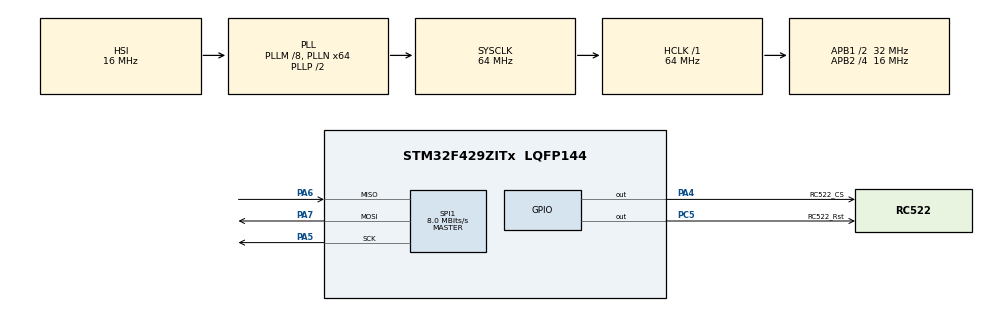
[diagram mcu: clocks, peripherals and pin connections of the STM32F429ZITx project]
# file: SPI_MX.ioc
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Mcu.Family=STM32F4
Mcu.Name=STM32F429ZITx
Mcu.Package=LQFP144
NVIC.PriorityGroup=NVIC_PRIORITYGROUP_0
PA13.Mode=Serial_Wire
PA13.Signal=SYS_JTMS-SWDIO
PA14.Mode=Serial_Wire
PA14.Signal=SYS_JTCK-SWCLK
PA4.GPIO_Label=RC522_CS
PA4.Signal=GPIO_Output
PA5.Mode=Full_Duplex_Master
PA5.Signal=SPI1_SCK
PA6.Mode=Full_Duplex_Master
PA6.Signal=SPI1_MISO
PA7.Mode=Full_Duplex_Master
PA7.Signal=SPI1_MOSI
PC5.GPIO_Label=RC522_Rst
PC5.Signal=GPIO_Output
ProjectManager.HeapSize=0x200
ProjectManager.StackSize=0x400
ProjectManager.TargetToolchain=STM32CubeIDE
RCC.48MHZClocksFreq_Value=18285714.285714287
RCC.AHBFreq_Value=64000000
RCC.APB1CLKDivider=RCC_HCLK_DIV2
RCC.APB1Freq_Value=32000000
RCC.APB1TimFreq_Value=64000000
RCC.APB2CLKDivider=RCC_HCLK_DIV4
RCC.APB2Freq_Value=16000000
RCC.APB2TimFreq_Value=32000000
RCC.CortexFreq_Value=64000000
RCC.HCLKFreq_Value=64000000
RCC.HSE_VALUE=8000000
RCC.HSI_VALUE=16000000
RCC.LSE_VALUE=32768
RCC.PLLM=8
RCC.PLLN=64
RCC.PLLQ=7
RCC.SYSCLKFreq_VALUE=64000000
RCC.SYSCLKSource=RCC_SYSCLKSOURCE_PLLCLK
RCC.VCOOutputFreq_Value=128000000
SPI1.BaudRatePrescaler=SPI_BAUDRATEPRESCALER_2
SPI1.CalculateBaudRate=8.0 MBits/s
SPI1.Direction=SPI_DIRECTION_2LINES
SPI1.Mode=SPI_MODE_MASTER
SPI1.VirtualType=VM_MASTER
board=STM32F429I-DISC1

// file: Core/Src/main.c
/* USER CODE BEGIN Header */
/**
  ******************************************************************************
  * @file           : main.c
  * @brief          : Main program body
  ******************************************************************************
  * @attention
  *
  * Copyright (c) 2025 STMicroelectronics.
  * All rights reserved.
  *
  * This software is licensed under terms that can be found in the LICENSE file
  * in the root directory of this software component.
  * If no LICENSE file comes with this software, it is provided AS-IS.
  *
  ******************************************************************************
  */
/* USER CODE END Header */
#include "main.h"

/* USER CODE BEGIN Includes */
#include "MFRC522.h"
/* USER CODE END Includes */

SPI_HandleTypeDef hspi1;

/* USER CODE BEGIN PV */
uint8_t value = 0;
char str1[17]={'\0'};
char str2[17]={'\0'};
char str3[17]={'\0'};
char str4[17]={'\0'};
char tmp_str[65]={'\0'};

uint8_t status, cardstr[MAX_LEN+1];
uint8_t card_data[17];
uint32_t delay_val = 1000; //ms
uint16_t result = 0;
uint8_t UID[5];
// a private key to scramble data writing/reading to/from RFID card:
uint8_t Mx1[7][5]={{0x12,0x45,0xF2,0xA8},{0xB2,0x6C,0x39,0x83},{0x55,0xE5,0xDA,0x18},
		  	  	  	{0x1F,0x09,0xCA,0x75},{0x99,0xA2,0x50,0xEC},{0x2C,0x88,0x7F,0x3D}};
uint8_t SectorKey[7];
/* USER CODE END PV */

void SystemClock_Config(void);
static void MX_GPIO_Init(void);
static void MX_SPI1_Init(void);

int main(void)
{

  /* MCU Configuration--------------------------------------------------------*/

  /* Reset of all peripherals, Initializes the Flash interface and the Systick. */
  HAL_Init();

  /* Configure the system clock */
  SystemClock_Config();

  /* Initialize all configured peripherals */
  MX_GPIO_Init();
  MX_SPI1_Init();
  /* USER CODE BEGIN 2 */
  HAL_GPIO_WritePin(RC522_Rst_GPIO_Port, RC522_Rst_Pin, GPIO_PIN_SET);
  MFRC522_Init();
  /* USER CODE END 2 */

  /* Infinite loop */
  while (1)
  {

    /* USER CODE BEGIN 3 */
  	  for (int i = 0; i < 16; i++)
  	  {
  		  cardstr[i] = 0;
  	  }
  	  status = 0;
  	  // Find cards
  	  status = MFRC522_Request(PICC_REQIDL, cardstr);
  	  if(status == MI_OK)
  	  {
  		  // Anti-collision, return card serial number == 4 bytes
  		  HAL_Delay(1);
  		  status = MFRC522_Anticoll(cardstr);
  		  if(status == MI_OK)
  		  {
  			  UID[0] = cardstr[0];
  			  UID[1] = cardstr[1];
  			  UID[2] = cardstr[2];
  			  UID[3] = cardstr[3];
  			  UID[4] = cardstr[4];
  		  }
		MFRC522_Halt();
		HAL_Delay(1000);
  	  }
  	  else{
  		  //Waiting For Card
  		  HAL_Delay(1);
  	  }
  }
  /* USER CODE END 3 */
}

void SystemClock_Config(void)
{
  RCC_OscInitTypeDef RCC_OscInitStruct = {0};
  RCC_ClkInitTypeDef RCC_ClkInitStruct = {0};

  /** Configure the main internal regulator output voltage
  */
  __HAL_RCC_PWR_CLK_ENABLE();
  __HAL_PWR_VOLTAGESCALING_CONFIG(PWR_REGULATOR_VOLTAGE_SCALE3);

  /** Initializes the RCC Oscillators according to the specified parameters
  * in the RCC_OscInitTypeDef structure.
  */
  RCC_OscInitStruct.OscillatorType = RCC_OSCILLATORTYPE_HSI;
  RCC_OscInitStruct.HSIState = RCC_HSI_ON;
  RCC_OscInitStruct.HSICalibrationValue = RCC_HSICALIBRATION_DEFAULT;
  RCC_OscInitStruct.PLL.PLLState = RCC_PLL_ON;
  RCC_OscInitStruct.PLL.PLLSource = RCC_PLLSOURCE_HSI;
  RCC_OscInitStruct.PLL.PLLM = 8;
  RCC_OscInitStruct.PLL.PLLN = 64;
  RCC_OscInitStruct.PLL.PLLP = RCC_PLLP_DIV2;
  RCC_OscInitStruct.PLL.PLLQ = 7;
  if (HAL_RCC_OscConfig(&RCC_OscInitStruct) != HAL_OK)
  {
    Error_Handler();
  }

  /** Initializes the CPU, AHB and APB buses clocks
  */
  RCC_ClkInitStruct.ClockType = RCC_CLOCKTYPE_HCLK|RCC_CLOCKTYPE_SYSCLK
                              |RCC_CLOCKTYPE_PCLK1|RCC_CLOCKTYPE_PCLK2;
  RCC_ClkInitStruct.SYSCLKSource = RCC_SYSCLKSOURCE_PLLCLK;
  RCC_ClkInitStruct.AHBCLKDivider = RCC_SYSCLK_DIV1;
  RCC_ClkInitStruct.APB1CLKDivider = RCC_HCLK_DIV2;
  RCC_ClkInitStruct.APB2CLKDivider = RCC_HCLK_DIV4;

  if (HAL_RCC_ClockConfig(&RCC_ClkInitStruct, FLASH_LATENCY_2) != HAL_OK)
  {
    Error_Handler();
  }
}

static void MX_SPI1_Init(void)
{

  /* SPI1 parameter configuration*/
  hspi1.Instance = SPI1;
  hspi1.Init.Mode = SPI_MODE_MASTER;
  hspi1.Init.Direction = SPI_DIRECTION_2LINES;
  hspi1.Init.DataSize = SPI_DATASIZE_8BIT;
  hspi1.Init.CLKPolarity = SPI_POLARITY_LOW;
  hspi1.Init.CLKPhase = SPI_PHASE_1EDGE;
  hspi1.Init.NSS = SPI_NSS_SOFT;
  hspi1.Init.BaudRatePrescaler = SPI_BAUDRATEPRESCALER_2;
  hspi1.Init.FirstBit = SPI_FIRSTBIT_MSB;
  hspi1.Init.TIMode = SPI_TIMODE_DISABLE;
  hspi1.Init.CRCCalculation = SPI_CRCCALCULATION_DISABLE;
  hspi1.Init.CRCPolynomial = 10;
  if (HAL_SPI_Init(&hspi1) != HAL_OK)
  {
    Error_Handler();
  }

}

static void MX_GPIO_Init(void)
{
  GPIO_InitTypeDef GPIO_InitStruct = {0};

  /* GPIO Ports Clock Enable */
  __HAL_RCC_GPIOA_CLK_ENABLE();
  __HAL_RCC_GPIOC_CLK_ENABLE();

  /*Configure GPIO pin Output Level */
  HAL_GPIO_WritePin(RC522_CS_GPIO_Port, RC522_CS_Pin, GPIO_PIN_RESET);

  /*Configure GPIO pin Output Level */
  HAL_GPIO_WritePin(RC522_Rst_GPIO_Port, RC522_Rst_Pin, GPIO_PIN_RESET);

  /*Configure GPIO pin : RC522_CS_Pin */
  GPIO_InitStruct.Pin = RC522_CS_Pin;
  GPIO_InitStruct.Mode = GPIO_MODE_OUTPUT_PP;
  GPIO_InitStruct.Pull = GPIO_NOPULL;
  GPIO_InitStruct.Speed = GPIO_SPEED_FREQ_LOW;
  HAL_GPIO_Init(RC522_CS_GPIO_Port, &GPIO_InitStruct);

  /*Configure GPIO pin : RC522_Rst_Pin */
  GPIO_InitStruct.Pin = RC522_Rst_Pin;
  GPIO_InitStruct.Mode = GPIO_MODE_OUTPUT_PP;
  GPIO_InitStruct.Pull = GPIO_NOPULL;
  GPIO_InitStruct.Speed = GPIO_SPEED_FREQ_LOW;
  HAL_GPIO_Init(RC522_Rst_GPIO_Port, &GPIO_InitStruct);

}

/* USER CODE BEGIN 4 */
HAL_StatusTypeDef SPI_Transmit(const uint8_t *pData, uint16_t Size)
{
	HAL_StatusTypeDef status;
	uint16_t len = 0;

//	HAL_SPI_Transmit(&hspi2, pData, Size, 500);
	SPI1->CR1 |= SPI_CR1_SPE;
	while(len < Size)
	{
		while(!(SPI1->SR & SPI_SR_TXE));
		SPI1->DR = pData[len++];
	}
	while(!(SPI1->SR & SPI_SR_TXE));
	while((SPI1->SR & SPI_SR_BSY));

	uint32_t tmpreg_ovr = 0x00;
    tmpreg_ovr = SPI1->DR;
    tmpreg_ovr = SPI1->SR;
    (void)tmpreg_ovr;

	return status;
}
//HAL_StatusTypeDef SPI_Transmit(const uint8_t *pData, uint16_t Size)
//{
//	HAL_StatusTypeDef status;
//	HAL_SPI_Transmit(&hspi1, pData, Size, 500);
//
//
//	return status;
//}

HAL_StatusTypeDef SPI_Receive(uint8_t *pData, uint16_t Size)
{
	HAL_StatusTypeDef status = HAL_OK;
//	HAL_SPI_Receive(&hspi1, pData, Size, 500);

		while(SPI1->SR & (1U << 7));

		while(Size)
		{
			while(!(SPI1->SR & (1U << 1)));

			SPI1->DR = 0x00;

			while(!(SPI1->SR & (1U << 0)));

			*pData++ = SPI1->DR;
			Size--;
		}

		while(SPI1->SR & (1U << 7));
<<<<<<< HEAD

=======

>>>>>>> 0adb39f (SPI code)
	    return status;
}

/* USER CODE END 4 */

void Error_Handler(void)
{
  __disable_irq();
  while (1)
  {
  }
}
